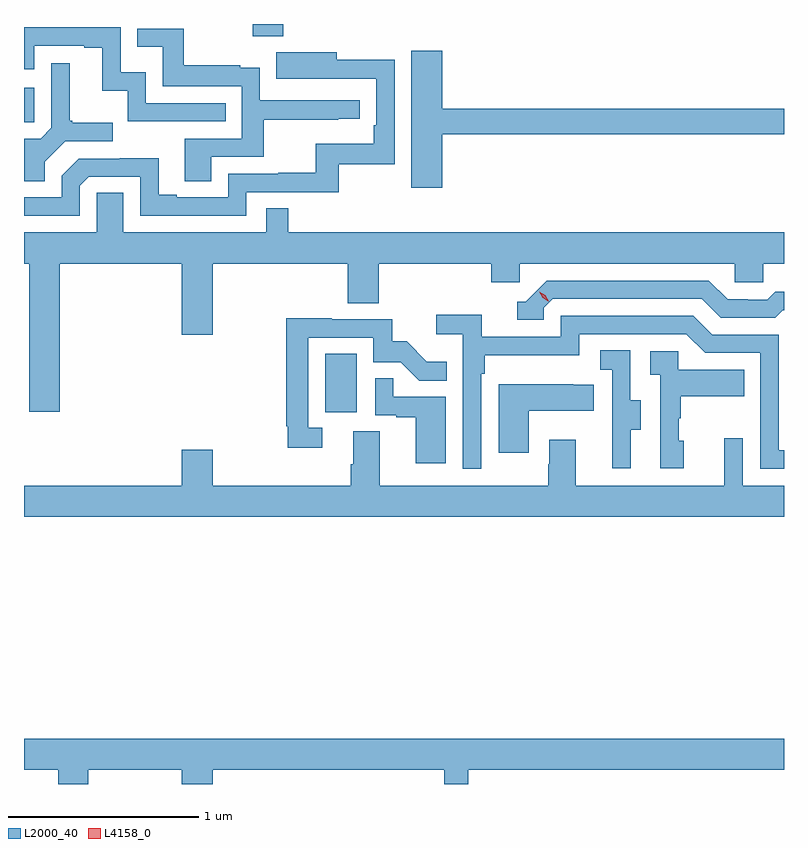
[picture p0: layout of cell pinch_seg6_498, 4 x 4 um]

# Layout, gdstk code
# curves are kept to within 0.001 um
import gdstk
lib = gdstk.Library(unit=1e-6, precision=1e-09)
def R(c, l, rs):  # rectangles x0, y0, x1, y1
    for r in rs: c.add(gdstk.rectangle(r[:2], r[2:], *l))
def P(c, l, *ps):  # polygons
    for p in ps: c.add(gdstk.Polygon(p, *l))
L2000_40 = (2000, 40)
L4158_0 = (4158, 0)

pinch_seg6_498 = lib.new_cell('pinch_seg6_498')
R(pinch_seg6_498, L2000_40, [(849.08,918.582,849.244,918.889), (847.494,920.109,847.548,920.289), (848.698,920.561,848.858,920.625)])
P(pinch_seg6_498, L2000_40, [(848.555,920.208),(848.136,920.208),(848.136,920.371),(848.004,920.371),(848.004,920.607),(847.494,920.607),(847.494,920.388),(847.548,920.388),(847.548,920.511),(847.811,920.511),(847.811,920.499),(847.907,920.499),(847.907,920.273),(848.04,920.273),(848.04,920.112),(848.555,920.112)],
  [(848.479,919.926),(848.756,919.926),(848.756,920.122),(849.149,920.122),(849.149,920.127),(849.262,920.127),(849.262,920.223),(848.736,920.223),(848.736,920.395),(848.633,920.395),(848.633,920.407),(848.335,920.407),(848.335,920.601),(848.089,920.601),(848.089,920.504),(848.224,920.504),(848.224,920.298),(848.64,920.298),(848.64,920.022),(848.339,920.022),(848.339,919.798),(848.479,919.798)],
  [(849.694,920.044),(851.494,920.044),(851.494,920.18),(849.694,920.18),(849.694,920.485),(849.533,920.485),(849.533,919.764),(849.694,919.764)],
  [(847.788,919.773),(847.836,919.821),(848.106,919.821),(848.106,919.617),(848.664,919.617),(848.664,919.74),(849.151,919.74),(849.151,919.887),(849.444,919.887),(849.444,920.438),(849.139,920.438),(849.139,920.476),(848.821,920.476),(848.821,920.336),(849.348,920.337),(849.348,920.092),(849.335,920.092),(849.335,919.996),(849.03,919.996),(849.03,919.841),(848.833,919.841),(848.833,919.836),(848.568,919.836),(848.568,919.713),(848.299,919.713),(848.299,919.726),(848.203,919.726),(848.203,919.919),(847.998,919.919),(847.998,919.917),(847.782,919.917),(847.692,919.827),(847.692,919.713),(847.494,919.713),(847.494,919.617),(847.788,919.617)],
  [(847.603,919.9),(847.71,920.007),(847.96,920.007),(847.96,920.104),(847.747,920.104),(847.747,920.116),(847.735,920.116),(847.735,920.419),(847.638,920.419),(847.638,920.079),(847.581,920.022),(847.494,920.022),(847.494,919.798),(847.603,919.798)],
  [(847.682,919.364),(848.324,919.364),(848.324,918.99),(848.488,918.99),(848.488,919.364),(849.197,919.364),(849.197,919.156),(849.362,919.156),(849.362,919.364),(849.953,919.364),(849.953,919.266),(850.104,919.266),(850.104,919.364),(851.235,919.364),(851.235,919.266),(851.385,919.266),(851.385,919.364),(851.494,919.364),(851.494,919.528),(848.885,919.528),(848.885,919.655),(848.769,919.655),(848.769,919.528),(848.017,919.528),(848.017,919.736),(847.878,919.736),(847.878,919.528),(847.494,919.528),(847.494,919.364),(847.522,919.364),(847.522,918.585),(847.682,918.585)],
  [(850.23,919.131),(850.278,919.179),(851.061,919.179),(851.16,919.08),(851.449,919.08),(851.488,919.119),(851.494,919.119),(851.494,919.216),(851.449,919.216),(851.407,919.173),(851.304,919.173),(851.304,919.176),(851.197,919.176),(851.098,919.275),(850.245,919.275),(850.134,919.164),(850.091,919.164),(850.091,919.068),(850.23,919.068)],
  [(849.9,918.785),(849.92,918.785),(849.92,918.881),(850.416,918.881),(850.416,918.993),(850.98,918.993),(851.079,918.894),(851.37,918.894),(851.37,918.285),(851.494,918.285),(851.494,918.381),(851.466,918.381),(851.466,918.99),(851.116,918.99),(851.017,919.089),(850.32,919.089),(850.32,918.978),(849.902,918.978),(849.902,919.094),(849.663,919.094),(849.663,918.992),(849.804,918.992),(849.804,918.285),(849.9,918.285)],
  [(849.064,918.501),(848.991,918.501),(848.991,918.975),(849.333,918.975),(849.333,918.846),(849.477,918.846),(849.575,918.748),(849.719,918.748),(849.719,918.847),(849.615,918.847),(849.508,918.954),(849.432,918.954),(849.432,919.071),(849.113,919.071),(849.113,919.076),(848.875,919.076),(848.875,918.508),(848.883,918.508),(848.883,918.396),(849.064,918.396)],
  [(850.687,918.49),(850.741,918.49),(850.741,918.645),(850.686,918.645),(850.686,918.908),(850.527,918.908),(850.527,918.805),(850.59,918.805),(850.59,918.501),(850.589,918.501),(850.589,918.288),(850.687,918.288)],
  [(850.966,918.432),(850.941,918.432),(850.941,918.551),(850.951,918.551),(850.951,918.665),(851.285,918.665),(851.285,918.805),(850.938,918.805),(850.938,918.903),(850.791,918.903),(850.791,918.779),(850.842,918.779),(850.842,918.288),(850.966,918.288)],
  [(849.715,918.663),(849.437,918.663),(849.437,918.761),(849.342,918.761),(849.342,918.567),(849.453,918.567),(849.453,918.555),(849.557,918.555),(849.557,918.312),(849.715,918.312)],
  [(850.15,918.59),(850.493,918.59),(850.493,918.727),(850.385,918.727),(850.385,918.73),(849.992,918.73),(849.992,918.369),(850.15,918.369)],
  [(851.494,918.196),(851.277,918.196),(851.277,918.445),(851.18,918.445),(851.18,918.196),(850.399,918.196),(850.399,918.436),(850.259,918.436),(850.259,918.308),(850.252,918.308),(850.252,918.196),(849.367,918.196),(849.367,918.482),(849.227,918.482),(849.227,918.308),(849.215,918.308),(849.215,918.196),(848.488,918.196),(848.488,918.385),(848.324,918.385),(848.324,918.196),(847.494,918.196),(847.494,918.032),(851.494,918.032)],
  [(847.494,916.7),(847.673,916.7),(847.673,916.625),(847.833,916.625),(847.833,916.7),(848.324,916.7),(848.324,916.625),(848.488,916.625),(848.488,916.7),(849.705,916.7),(849.705,916.625),(849.833,916.625),(849.833,916.7),(851.494,916.7),(851.494,916.864),(847.494,916.864)])
P(pinch_seg6_498, L4158_0, [(850.254,919.166),(850.223,919.184),(850.207,919.217),(850.207,919.217),(850.207,919.217),(850.238,919.198),(850.255,919.166),(850.255,919.166)])

lib.write_gds('pinch_seg6_498.gds')
